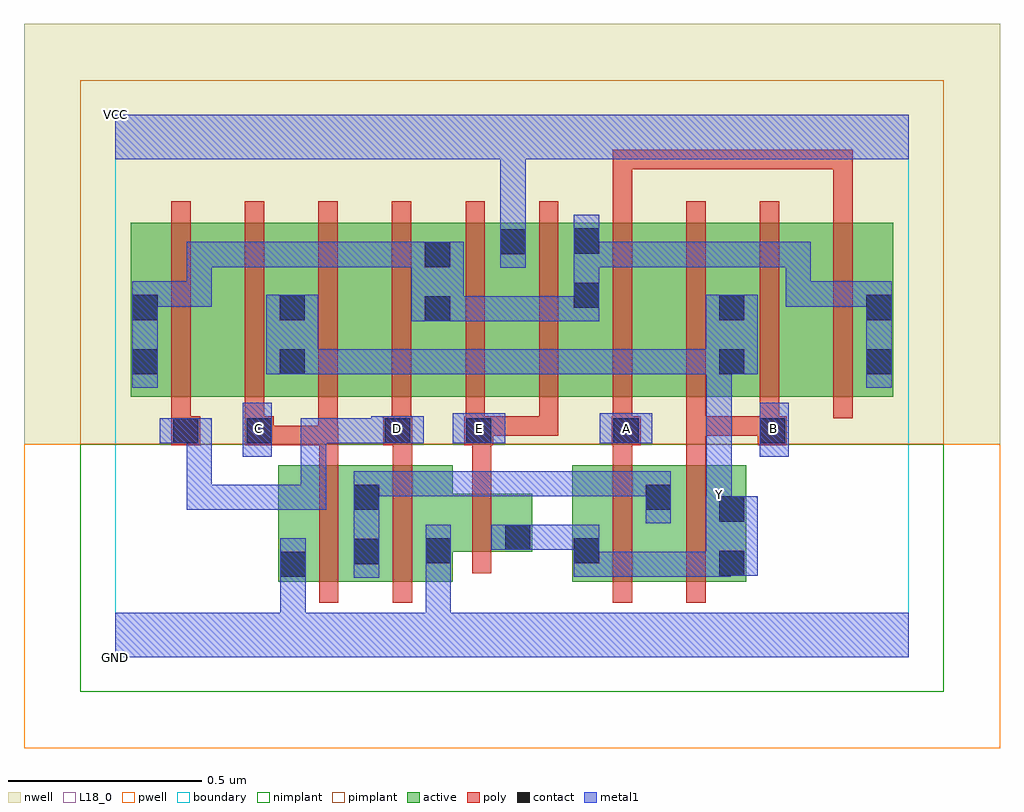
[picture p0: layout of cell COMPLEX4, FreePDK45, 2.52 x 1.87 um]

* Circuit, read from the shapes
.subckt COMPLEX4 A B C D E GND VCC Y
M1 n1 C GND VSUBS nfet w=0.3u l=0.05u
M2 GND D n1 VSUBS nfet w=0.3u l=0.05u
M3 Y E GND VSUBS nfet w=0.15u l=0.05u
M4 n1 A Y VSUBS nfet w=0.3u l=0.05u
M5 Y B n1 VSUBS nfet w=0.3u l=0.05u
M6 n2 D n3 n4 pfet w=0.45u l=0.05u
M7 Y C n2 n4 pfet w=0.45u l=0.05u
M8 n5 C Y n4 pfet w=0.45u l=0.05u
M9 n3 D n5 n4 pfet w=0.45u l=0.05u
M10 VCC E n3 n4 pfet w=0.45u l=0.05u m=2
M11 n6 A n3 n4 pfet w=0.45u l=0.05u
M12 Y B n6 n4 pfet w=0.45u l=0.05u
M13 n7 B Y n4 pfet w=0.45u l=0.05u
M14 n3 A n7 n4 pfet w=0.45u l=0.05u
.ends

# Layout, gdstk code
import gdstk
lib = gdstk.Library(unit=1e-6, precision=1e-09)
def R(c, l, rs):  # rectangles x0, y0, x1, y1
    for r in rs: c.add(gdstk.rectangle(r[:2], r[2:], *l))
def A(c, l, x, y, w, h, nx, ny, dx, dy):  # array of equal rectangles
    R(c, l, [(x+i*dx, y+j*dy, x+i*dx+w, y+j*dy+h) for i in range(nx) for j in range(ny)])
active = (1, 0)
pwell = (2, 0)
nwell = (3, 0)
nimplant = (4, 0)
pimplant = (5, 0)
poly = (9, 0)
contact = (10, 0)
metal1 = (11, 0)
L18_0 = (18, 0)
boundary = (235, 0)

complex4 = lib.new_cell('COMPLEX4')
R(complex4, active, [(0.422,0.195,0.497,0.495), (0.422,0.195,0.687,0.495), (0.612,0.195,0.687,0.495), (0.612,0.195,0.872,0.495), (0.797,0.195,0.872,0.422), (1.18,0.195,1.255,0.495), (1.18,0.195,1.44,0.495), (1.365,0.195,1.63,0.495), (1.365,0.195,1.44,0.45), (1.555,0.195,1.63,0.495), (0.797,0.272,1.077,0.422), (1.002,0.272,1.077,0.422), (0.04,0.672,0.115,1.055), (0.04,0.672,0.265,1.122), (0.265,0.672,0.495,1.122), (0.42,0.672,0.495,1.055), (0.42,0.672,0.645,1.122), (0.645,0.672,0.87,1.122), (0.795,0.672,1.065,1.122), (0.99,0.672,1.255,1.122), (1.18,0.672,1.405,1.122), (1.405,0.672,1.63,1.122), (1.555,0.672,1.63,1.055), (1.555,0.672,1.785,1.122), (1.785,0.672,2.01,1.122), (1.935,0.672,2.01,1.055), (0.795,0.722,0.87,1.077), (1.18,0.722,1.255,1.122), (0.99,0.852,1.065,1.122)])
R(complex4, pwell, [(-0.235,-0.235,2.285,0.55)])
R(complex4, nwell, [(-0.235,0.55,2.285,1.635)])
R(complex4, nimplant, [(-0.09,-0.09,2.14,0.55)])
R(complex4, pimplant, [(-0.09,0.55,2.14,1.49)])
A(complex4, poly, 0.715, 0.572, 0.05, 0.095, 6, 1, 0.19, 0)
A(complex4, poly, 0.145, 0.617, 0.05, 0.56, 10, 1, 0.19, 0)
R(complex4, poly, [(0.527,0.14,0.577,0.55), (0.717,0.14,0.767,0.55), (1.285,0.14,1.335,0.55), (1.475,0.14,1.525,0.55), (0.922,0.217,0.972,0.477), (0.922,0.427,0.972,0.597), (0.527,0.5,0.577,0.597), (0.717,0.5,0.767,0.597), (1.285,0.5,1.335,0.597), (1.475,0.5,1.525,0.622), (0.145,0.547,0.22,0.622), (0.335,0.547,0.41,0.622), (0.36,0.547,0.575,0.597), (0.525,0.547,0.575,0.597), (0.525,0.547,0.575,0.597), (0.525,0.547,0.575,0.667), (0.525,0.547,0.577,0.597), (0.692,0.547,0.767,0.622), (0.902,0.547,0.977,0.622), (1.282,0.547,1.357,0.622), (1.66,0.547,1.735,0.622), (0.145,0.572,0.195,0.667), (0.335,0.572,0.385,0.667), (0.927,0.572,1.145,0.622), (1.095,0.572,1.145,0.622), (1.095,0.572,1.145,0.622), (1.095,0.572,1.145,0.622), (1.475,0.572,1.525,0.622), (1.475,0.572,1.71,0.622), (1.66,0.572,1.71,0.622), (1.66,0.572,1.71,0.622), (1.285,1.127,1.335,1.31), (1.855,1.127,1.905,1.31), (1.285,1.26,1.335,1.31), (1.285,1.26,1.335,1.31), (1.285,1.26,1.335,1.31), (1.285,1.26,1.525,1.31), (1.475,1.26,1.525,1.31), (1.475,1.26,1.657,1.31), (1.607,1.26,1.657,1.31), (1.607,1.26,1.657,1.31), (1.607,1.26,1.657,1.31), (1.607,1.26,1.905,1.31), (1.855,1.26,1.905,1.31), (1.855,1.26,1.905,1.31), (1.855,1.26,1.905,1.31)])
R(complex4, contact, [(0.427,0.207,0.492,0.272), (1.56,0.21,1.625,0.275), (0.617,0.24,0.682,0.305), (0.802,0.242,0.867,0.307), (1.185,0.242,1.25,0.307), (1.007,0.277,1.072,0.342), (1.56,0.35,1.625,0.415), (0.617,0.38,0.682,0.445), (1.37,0.38,1.435,0.445), (0.15,0.552,0.215,0.617), (0.34,0.552,0.405,0.617), (0.697,0.552,0.762,0.617), (0.907,0.552,0.972,0.617), (1.287,0.552,1.352,0.617), (1.665,0.552,1.73,0.617), (0.045,0.73,0.11,0.795), (0.425,0.73,0.49,0.795), (1.56,0.73,1.625,0.795), (1.94,0.73,2.005,0.795), (0.8,0.867,0.865,0.932), (0.045,0.87,0.11,0.935), (0.425,0.87,0.49,0.935), (1.56,0.87,1.625,0.935), (1.94,0.87,2.005,0.935), (1.185,0.902,1.25,0.967), (0.8,1.007,0.865,1.072), (0.995,1.04,1.06,1.105), (1.185,1.042,1.25,1.107)])
R(complex4, metal1, [(0,0,2.05,0.115), (0.427,0.05,0.492,0.237), (0.802,0.05,0.867,0.272), (0.427,0.172,0.492,0.237), (0.427,0.172,0.492,0.237), (0.427,0.172,0.492,0.307), (0.617,0.205,0.682,0.48), (0.802,0.207,0.867,0.272), (0.802,0.207,0.867,0.272), (0.802,0.207,0.867,0.342), (1.185,0.207,1.452,0.272), (1.185,0.207,1.25,0.342), (1.387,0.207,1.452,0.272), (1.387,0.207,1.452,0.272), (1.387,0.207,1.452,0.272), (1.387,0.207,1.59,0.272), (1.525,0.207,1.59,0.272), (1.525,0.207,1.59,0.272), (1.525,0.207,1.59,0.272), (1.525,0.207,1.59,0.275), (1.525,0.21,1.66,0.415), (0.972,0.277,1.107,0.342), (1.042,0.277,1.107,0.342), (1.042,0.277,1.107,0.342), (1.042,0.277,1.25,0.342), (1.37,0.345,1.435,0.48), (1.527,0.35,1.592,0.415), (1.527,0.35,1.592,0.487), (0.185,0.38,0.25,0.445), (0.185,0.38,0.387,0.445), (0.185,0.38,0.25,0.617), (0.322,0.38,0.387,0.445), (0.322,0.38,0.545,0.445), (0.48,0.38,0.545,0.445), (0.48,0.38,0.545,0.617), (0.617,0.415,0.682,0.48), (0.617,0.415,0.682,0.48), (0.617,0.415,0.9,0.48), (0.835,0.415,0.9,0.48), (0.835,0.415,0.9,0.48), (0.835,0.415,0.9,0.48), (0.835,0.415,1.112,0.48), (1.047,0.415,1.112,0.48), (1.047,0.415,1.112,0.48), (1.047,0.415,1.112,0.48), (1.047,0.415,1.25,0.48), (1.185,0.415,1.25,0.48), (1.185,0.415,1.25,0.48), (1.185,0.415,1.25,0.48), (1.185,0.415,1.435,0.48), (1.527,0.422,1.592,0.795), (0.33,0.517,0.405,0.657), (1.665,0.517,1.74,0.657), (0.115,0.552,0.25,0.617), (0.185,0.552,0.25,0.617), (0.185,0.552,0.25,0.617), (0.48,0.552,0.545,0.617), (0.48,0.552,0.545,0.617), (0.48,0.552,0.545,0.617), (0.48,0.552,0.692,0.617), (0.627,0.552,0.692,0.617), (0.627,0.552,0.727,0.617), (0.662,0.552,0.797,0.622), (0.872,0.552,1.007,0.63), (1.252,0.552,1.387,0.63), (0.045,0.695,0.11,0.97), (1.94,0.695,2.005,0.97), (0.39,0.73,0.525,0.935), (0.46,0.73,0.545,0.795), (0.48,0.73,0.545,0.795), (0.48,0.73,0.692,0.795), (0.627,0.73,0.692,0.795), (0.627,0.73,0.692,0.795), (0.627,0.73,0.692,0.795), (0.627,0.73,0.83,0.795), (0.765,0.73,0.83,0.795), (0.765,0.73,0.83,0.795), (0.765,0.73,0.83,0.795), (0.765,0.73,1.112,0.795), (1.047,0.73,1.112,0.795), (1.047,0.73,1.112,0.795), (1.047,0.73,1.112,0.795), (1.047,0.73,1.25,0.795), (1.185,0.73,1.25,0.795), (1.185,0.73,1.387,0.795), (1.322,0.73,1.387,0.795), (1.322,0.73,1.387,0.795), (1.322,0.73,1.387,0.795), (1.322,0.73,1.59,0.795), (1.525,0.73,1.59,0.795), (1.525,0.73,1.59,0.795), (1.525,0.73,1.66,0.935), (0.765,0.867,0.9,1.072), (0.835,0.867,0.9,0.932), (0.835,0.867,0.9,0.932), (0.835,0.867,1.112,0.932), (1.047,0.867,1.112,0.932), (1.047,0.867,1.112,0.932), (1.047,0.867,1.112,0.932), (1.047,0.867,1.25,0.932), (1.185,0.867,1.25,1.142), (0.045,0.905,0.25,0.97), (0.185,0.905,0.25,0.97), (0.185,0.905,0.25,0.97), (0.185,0.905,0.25,0.97), (0.185,0.905,0.25,1.072), (1.732,0.905,1.797,0.97), (1.732,0.905,2.005,0.97), (1.732,0.905,1.797,1.072), (1.94,0.905,2.005,0.97), (1.94,0.905,2.005,0.97), (0.995,1.005,1.06,1.14), (0.185,1.007,0.25,1.072), (0.185,1.007,0.407,1.072), (0.342,1.007,0.407,1.072), (0.342,1.007,0.407,1.072), (0.342,1.007,0.407,1.072), (0.342,1.007,0.545,1.072), (0.48,1.007,0.545,1.072), (0.48,1.007,0.692,1.072), (0.627,1.007,0.692,1.072), (0.627,1.007,0.692,1.072), (0.627,1.007,0.692,1.072), (0.627,1.007,0.83,1.072), (1.185,1.007,1.25,1.072), (1.185,1.007,1.25,1.072), (1.185,1.007,1.452,1.072), (1.387,1.007,1.452,1.072), (1.387,1.007,1.59,1.072), (1.525,1.007,1.59,1.072), (1.525,1.007,1.59,1.072), (1.525,1.007,1.59,1.072), (1.525,1.007,1.797,1.072), (1.732,1.007,1.797,1.072), (1.732,1.007,1.797,1.072), (1.732,1.007,1.797,1.072), (0.995,1.075,1.06,1.14), (0.995,1.075,1.06,1.14), (0.995,1.075,1.06,1.35), (0,1.285,2.05,1.4)])
A(complex4, L18_0, 0.907, 0.557, 0.065, 0.065, 3, 1, 0.38, 0)
R(complex4, L18_0, [(0,0,2.05,0.115), (0.427,0.05,0.492,0.237), (0.802,0.05,0.867,0.272), (0.427,0.172,0.492,0.237), (0.427,0.172,0.492,0.237), (0.427,0.172,0.492,0.307), (0.802,0.207,0.867,0.272), (0.802,0.207,0.867,0.272), (0.802,0.207,0.867,0.342), (1.185,0.207,1.25,0.342), (1.185,0.207,1.452,0.272), (1.387,0.207,1.452,0.272), (1.387,0.207,1.452,0.272), (1.387,0.207,1.452,0.272), (1.387,0.207,1.59,0.272), (1.525,0.207,1.59,0.272), (1.525,0.207,1.59,0.272), (1.525,0.207,1.59,0.272), (1.525,0.207,1.59,0.275), (1.525,0.21,1.66,0.415), (0.972,0.277,1.107,0.342), (1.042,0.277,1.107,0.342), (1.042,0.277,1.107,0.342), (1.042,0.277,1.25,0.342), (1.527,0.35,1.592,0.415), (1.527,0.35,1.592,0.487), (0.185,0.38,0.25,0.445), (0.185,0.38,0.25,0.617), (0.185,0.38,0.387,0.445), (0.322,0.38,0.387,0.445), (0.322,0.38,0.545,0.445), (0.48,0.38,0.545,0.445), (0.48,0.38,0.545,0.617), (1.527,0.387,1.592,0.452), (1.527,0.422,1.592,0.795), (0.33,0.517,0.405,0.657), (1.665,0.517,1.74,0.657), (0.115,0.552,0.25,0.617), (0.185,0.552,0.25,0.617), (0.185,0.552,0.25,0.617), (0.48,0.552,0.545,0.617), (0.48,0.552,0.545,0.617), (0.48,0.552,0.545,0.617), (0.48,0.552,0.692,0.617), (0.627,0.552,0.692,0.617), (0.627,0.552,0.727,0.617), (0.662,0.552,0.797,0.622), (0.872,0.552,1.007,0.63), (1.252,0.552,1.387,0.63), (0.337,0.557,0.402,0.622), (0.697,0.557,0.762,0.622), (0.39,0.73,0.525,0.935), (0.46,0.73,0.545,0.795), (0.48,0.73,0.545,0.795), (0.48,0.73,0.692,0.795), (0.627,0.73,0.692,0.795), (0.627,0.73,0.692,0.795), (0.627,0.73,0.692,0.795), (0.627,0.73,0.83,0.795), (0.765,0.73,0.83,0.795), (0.765,0.73,0.83,0.795), (0.765,0.73,0.83,0.795), (0.765,0.73,1.112,0.795), (1.047,0.73,1.112,0.795), (1.047,0.73,1.112,0.795), (1.047,0.73,1.112,0.795), (1.047,0.73,1.25,0.795), (1.185,0.73,1.25,0.795), (1.185,0.73,1.387,0.795), (1.322,0.73,1.387,0.795), (1.322,0.73,1.387,0.795), (1.322,0.73,1.387,0.795), (1.322,0.73,1.59,0.795), (1.525,0.73,1.59,0.795), (1.525,0.73,1.59,0.795), (1.525,0.73,1.66,0.935), (0.995,1.005,1.06,1.14), (0.995,1.075,1.06,1.14), (0.995,1.075,1.06,1.14), (0.995,1.075,1.06,1.35), (0,1.285,2.05,1.4)])
R(complex4, boundary, [(0,0,2.05,1.4)])
complex4.add(gdstk.Label('A', (1.32,0.59), layer=11, texttype=0))
complex4.add(gdstk.Label('B', (1.7,0.59), layer=11, texttype=0))
complex4.add(gdstk.Label('C', (0.37,0.59), layer=11, texttype=0))
complex4.add(gdstk.Label('D', (0.73,0.59), layer=11, texttype=0))
complex4.add(gdstk.Label('E', (0.94,0.59), layer=11, texttype=0))
complex4.add(gdstk.Label('Y', (1.56,0.42), layer=11, texttype=0))
complex4.add(gdstk.Label('VCC', (0,1.4), layer=11, texttype=0))
complex4.add(gdstk.Label('GND', (0,0), layer=11, texttype=0))

lib.write_gds('COMPLEX4.gds')
